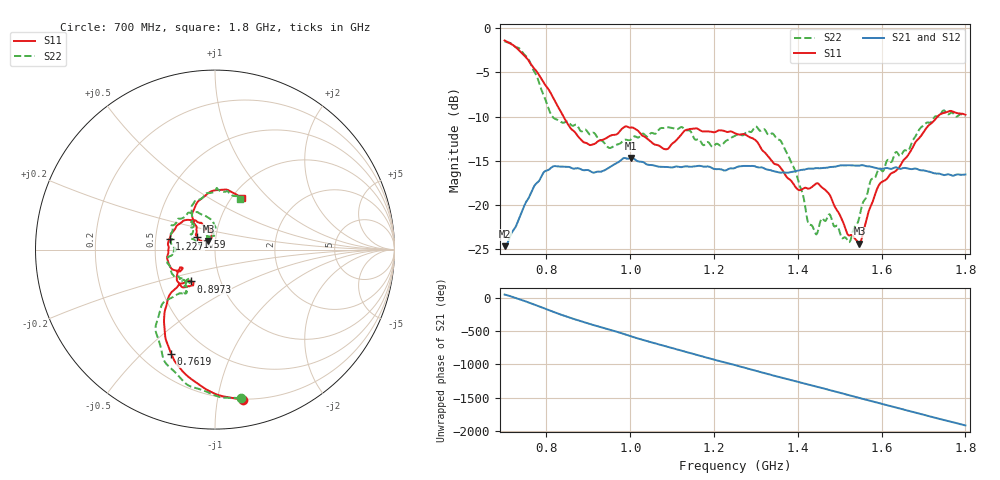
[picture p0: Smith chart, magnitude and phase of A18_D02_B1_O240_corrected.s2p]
! Created with skrf 1.9.0 (http://scikit-rf.org).
# Hz S RI R 50.0
!freq ReS11 ImS11 ReS21 ImS21 ReS12 ImS12 ReS22 ImS22
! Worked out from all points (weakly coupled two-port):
!   1601 points, 700 MHz to 1.8 GHz, reference 50 ohm
!   highest |S21| = -14.67 dB at 1.002 GHz (marker M1); lowest = -24.6 dB at 700 MHz (marker M2)
!   lowest |S11| = -24.4 dB at 1.547 GHz (marker M3), VSWR 1.13, Z = 46.2 + j4.46 ohm
!   |S11| at or under -10 dB: 840.5 MHz to 1.733 GHz (892.7 MHz wide, 69.4 % of centre)
!   |S22| runs from -24.2 to -1.5 dB; largest |S21 - S12| = 0.0035
!   S11 on the Smith chart (normalised r, x): 700 MHz: 0.20, -1.19; 761.9 MHz: 0.32, -0.62; 897.3 MHz: 0.72, -0.27; 1.227 GHz: 0.59, +0.08; 1.59 GHz: 0.81, +0.12; 1.8 GHz: 1.12, +0.71
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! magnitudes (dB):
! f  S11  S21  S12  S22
! 700 MHz  -1.4  -24.6  -24.4  -1.5
! 761.9 MHz  -4.0  -18.8  -18.7  -4.0
! 814.1 MHz  -7.7  -15.7  -15.7  -10.0
! 883.6 MHz  -12.7  -16.0  -15.9  -11.7
! 897.3 MHz  -13.0  -16.0  -16.1  -11.7
! 950.9 MHz  -12.2  -15.7  -15.7  -13.5
! 1.002 GHz  -11.2  -14.7  -14.8  -12.6
! 1.067 GHz  -13.3  -15.7  -15.6  -11.5
! 1.139 GHz  -11.4  -15.7  -15.6  -11.5
! 1.227 GHz  -11.7  -16.1  -16.0  -12.8
! 1.25 GHz  -11.9  -15.8  -15.7  -12.2
! 1.3 GHz  -12.7  -15.7  -15.7  -11.1
! 1.359 GHz  -15.8  -16.3  -16.3  -12.7
! 1.401 GHz  -18.3  -16.1  -16.1  -17.2
! 1.434 GHz  -17.9  -15.9  -15.9  -22.3
! 1.476 GHz  -18.8  -15.7  -15.7  -21.0
! 1.522 GHz  -23.4  -15.5  -15.5  -24.2
! 1.547 GHz  -24.4  -15.5  -15.5  -21.3
! 1.59 GHz  -18.1  -15.8  -15.8  -16.3
! 1.617 GHz  -16.7  -15.9  -15.8  -14.9
! 1.737 GHz  -9.8  -16.4  -16.5  -10.0
! 1.8 GHz  -9.8  -16.5  -16.5  -10.0
